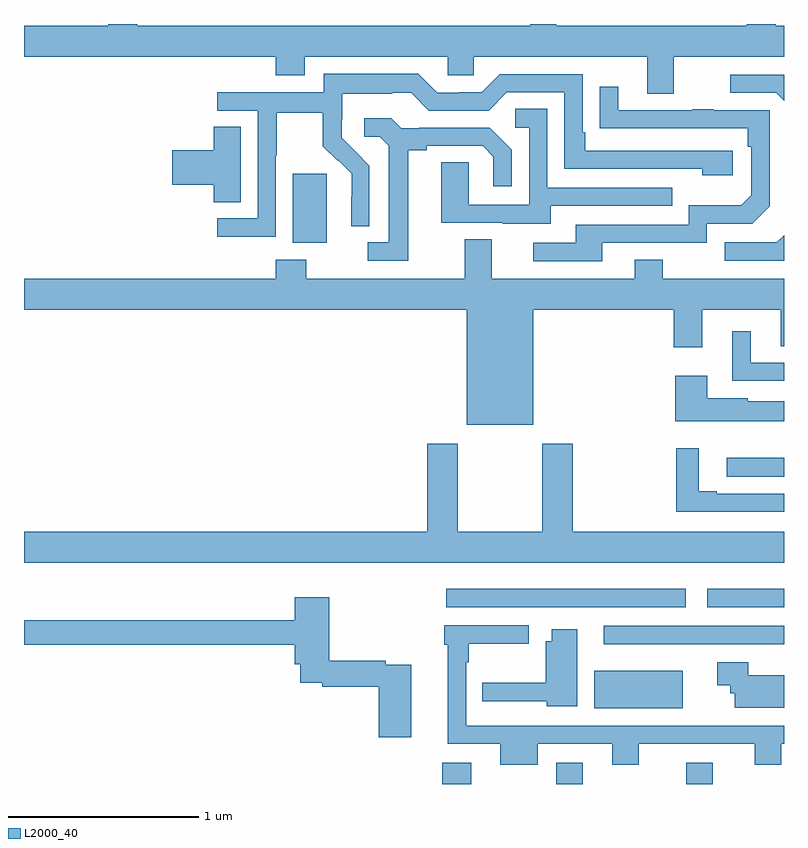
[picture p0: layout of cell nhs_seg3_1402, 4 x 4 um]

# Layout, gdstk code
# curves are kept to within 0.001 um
import gdstk
lib = gdstk.Library(unit=1e-6, precision=1e-09)
def R(c, l, rs):  # rectangles x0, y0, x1, y1
    for r in rs: c.add(gdstk.rectangle(r[:2], r[2:], *l))
def P(c, l, *ps):  # polygons
    for p in ps: c.add(gdstk.Polygon(p, *l))
L2000_40 = (2000, 40)

nhs_seg3_1402 = lib.new_cell('nhs_seg3_1402')
R(nhs_seg3_1402, L2000_40, [(185.201,718.4,185.353,718.513), (185.801,718.4,185.941,718.513), (186.485,718.4,186.625,718.513), (186.002,718.799,186.466,718.996), (185.223,719.331,186.484,719.428), (186.597,719.331,187,719.428), (186.699,720.018,187,720.116), (184.415,721.25,184.594,721.611)])
P(nhs_seg3_1402, L2000_40, [(186.421,722.228),(187,722.228),(187,722.392),(186.956,722.392),(186.956,722.4),(186.805,722.4),(186.805,722.392),(185.801,722.392),(185.801,722.4),(185.665,722.4),(185.665,722.392),(183.596,722.392),(183.596,722.4),(183.443,722.4),(183.443,722.392),(183,722.392),(183,722.228),(184.325,722.228),(184.325,722.129),(184.477,722.129),(184.477,722.228),(185.229,722.228),(185.229,722.13),(185.367,722.13),(185.367,722.228),(186.281,722.228),(186.281,722.034),(186.421,722.034)],
  [(184.326,721.708),(184.329,721.708),(184.329,721.932),(184.573,721.932),(184.573,721.757),(184.65,721.68),(184.653,721.683),(184.724,721.613),(184.724,721.49),(184.722,721.49),(184.722,721.336),(184.818,721.336),(184.818,721.654),(184.672,721.802),(184.672,721.899),(184.674,721.899),(184.674,722.033),(184.937,722.033),(184.937,722.037),(185.037,722.037),(185.13,721.944),(185.445,721.944),(185.541,722.04),(185.844,722.04),(185.844,721.638),(186.569,721.638),(186.569,721.604),(186.73,721.604),(186.73,721.734),(185.953,721.734),(185.953,721.831),(185.94,721.831),(185.94,722.136),(185.505,722.136),(185.409,722.04),(185.291,722.04),(185.291,722.037),(185.175,722.037),(185.075,722.137),(184.578,722.137),(184.578,722.04),(184.017,722.04),(184.017,721.944),(184.23,721.944),(184.23,721.377),(184.017,721.377),(184.017,721.279),(184.326,721.279)],
  [(187,722.133),(186.717,722.133),(186.717,722.037),(186.96,722.037),(187,721.997)],
  [(186.043,721.248),(186.594,721.248),(186.594,721.35),(186.834,721.35),(186.924,721.44),(186.924,721.947),(186.629,721.947),(186.629,721.952),(186.517,721.952),(186.517,721.947),(186.127,721.947),(186.127,722.071),(186.031,722.071),(186.031,721.852),(186.808,721.851),(186.808,721.754),(186.828,721.754),(186.828,721.5),(186.775,721.447),(186.498,721.447),(186.498,721.344),(185.903,721.344),(185.903,721.248),(185.679,721.248),(185.679,721.152),(186.043,721.152)],
  [(185.773,721.443),(186.413,721.443),(186.413,721.539),(185.754,721.539),(185.754,721.955),(185.586,721.955),(185.586,721.854),(185.658,721.854),(185.658,721.449),(185.34,721.449),(185.34,721.673),(185.195,721.673),(185.195,721.353),(185.519,721.353),(185.519,721.349),(185.773,721.349)],
  [(185.023,721.736),(185.119,721.736),(185.119,721.758),(185.414,721.758),(185.471,721.701),(185.471,721.545),(185.568,721.545),(185.568,721.738),(185.452,721.854),(185.08,721.854),(185.08,721.851),(184.986,721.851),(184.934,721.903),(184.791,721.903),(184.791,721.806),(184.872,721.806),(184.919,721.759),(184.919,721.251),(184.809,721.251),(184.809,721.155),(185.023,721.155)],
  [(184.141,721.859),(183.998,721.859),(183.998,721.736),(183.78,721.736),(183.78,721.553),(183.998,721.553),(183.998,721.462),(184.141,721.462)],
  [(187,721.288),(186.963,721.251),(186.687,721.251),(186.687,721.155),(187,721.155)],
  [(185.68,720.896),(186.419,720.896),(186.419,720.699),(186.571,720.699),(186.571,720.896),(186.983,720.896),(186.983,720.703),(187,720.703),(187,721.06),(186.363,721.06),(186.363,721.159),(186.215,721.159),(186.215,721.06),(185.461,721.06),(185.461,721.268),(185.321,721.268),(185.321,721.06),(184.485,721.06),(184.485,721.159),(184.325,721.159),(184.325,721.06),(183,721.06),(183,720.896),(185.33,720.896),(185.33,720.29),(185.68,720.29)],
  [(187,720.618),(186.826,720.618),(186.826,720.784),(186.728,720.784),(186.728,720.522),(187,720.522)],
  [(187,720.415),(186.81,720.415),(186.81,720.43),(186.595,720.43),(186.595,720.55),(186.428,720.55),(186.428,720.308),(187,720.308)],
  [(187,719.728),(185.888,719.728),(185.888,720.19),(185.728,720.19),(185.728,719.728),(185.283,719.728),(185.283,720.19),(185.123,720.19),(185.123,719.728),(183,719.728),(183,719.564),(187,719.564)],
  [(187,719.928),(186.646,719.928),(186.646,719.941),(186.55,719.941),(186.55,720.166),(186.433,720.166),(186.433,719.832),(187,719.832)],
  [(185.038,719.028),(184.904,719.028),(184.904,719.048),(184.607,719.048),(184.607,719.383),(184.424,719.383),(184.424,719.263),(183,719.263),(183,719.134),(184.424,719.134),(184.424,719.03),(184.454,719.03),(184.454,718.932),(184.57,718.932),(184.57,718.912),(184.868,718.912),(184.868,718.647),(185.038,718.647)],
  [(185.704,718.611),(186.095,718.611),(186.095,718.502),(186.235,718.502),(186.235,718.611),(186.845,718.611),(186.845,718.502),(186.985,718.502),(186.985,718.611),(187,718.611),(187,718.707),(185.328,718.707),(185.328,719.042),(185.341,719.042),(185.341,719.138),(185.656,719.138),(185.656,719.235),(185.212,719.235),(185.212,719.132),(185.231,719.132),(185.231,718.611),(185.507,718.611),(185.507,718.502),(185.704,718.502)],
  [(186.462,719.136),(187,719.136),(187,719.232),(186.051,719.232),(186.051,719.135),(186.462,719.135)],
  [(185.911,719.215),(185.777,719.215),(185.777,719.152),(185.747,719.152),(185.747,718.934),(185.413,718.934),(185.413,718.836),(185.751,718.836),(185.751,718.808),(185.911,718.808)],
  [(187,718.972),(186.813,718.972),(186.813,719.041),(186.648,719.041),(186.648,718.919),(186.717,718.919),(186.717,718.878),(186.74,718.878),(186.74,718.802),(187,718.802)])

lib.write_gds('nhs_seg3_1402.gds')
